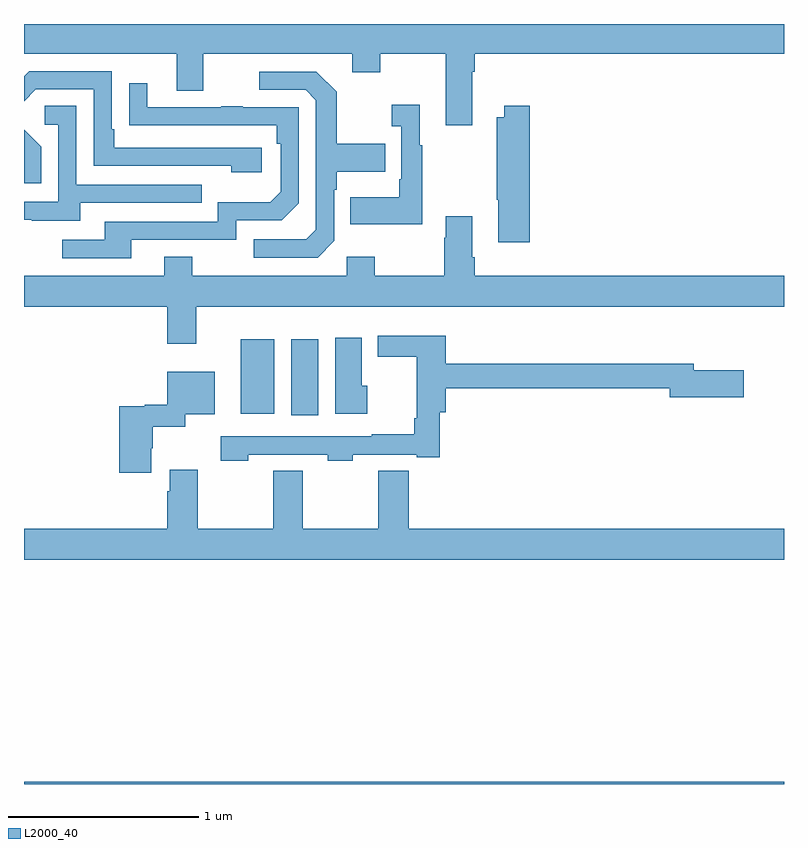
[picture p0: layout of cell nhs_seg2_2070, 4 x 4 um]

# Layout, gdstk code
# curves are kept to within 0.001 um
import gdstk
lib = gdstk.Library(unit=1e-6, precision=1e-09)
def R(c, l, rs):  # rectangles x0, y0, x1, y1
    for r in rs: c.add(gdstk.rectangle(r[:2], r[2:], *l))
def P(c, l, *ps):  # polygons
    for p in ps: c.add(gdstk.Polygon(p, *l))
L2000_40 = (2000, 40)

nhs_seg2_2070 = lib.new_cell('nhs_seg2_2070')
R(nhs_seg2_2070, L2000_40, [(219,635.8,223,635.812), (220.406,637.74,220.549,638.14), (220.142,637.748,220.318,638.14)])
P(nhs_seg2_2070, L2000_40, [(219,639.644),(219.803,639.644),(219.803,639.45),(219.943,639.45),(219.943,639.644),(220.727,639.644),(220.727,639.545),(220.875,639.545),(220.875,639.644),(221.219,639.644),(221.219,639.267),(221.359,639.267),(221.359,639.548),(221.372,639.548),(221.372,639.644),(223,639.644),(223,639.8),(219,639.8)],
  [(220.252,639.15),(219.475,639.15),(219.475,639.247),(219.462,639.247),(219.462,639.552),(219.027,639.552),(219,639.525),(219,639.393),(219.063,639.456),(219.366,639.456),(219.366,639.054),(220.091,639.054),(220.091,639.02),(220.252,639.02)],
  [(220.632,638.658),(220.632,638.927),(220.645,638.927),(220.645,639.023),(220.901,639.023),(220.901,639.171),(220.645,639.171),(220.645,639.443),(220.539,639.549),(220.239,639.549),(220.239,639.453),(220.482,639.453),(220.536,639.399),(220.536,638.718),(220.485,638.667),(220.209,638.667),(220.209,638.571),(220.545,638.571)],
  [(219.565,638.664),(220.116,638.664),(220.116,638.766),(220.356,638.766),(220.446,638.856),(220.446,639.363),(220.151,639.363),(220.151,639.368),(220.039,639.368),(220.039,639.363),(219.649,639.363),(219.649,639.487),(219.553,639.487),(219.553,639.268),(220.33,639.267),(220.33,639.17),(220.35,639.17),(220.35,638.916),(220.297,638.863),(220.02,638.863),(220.02,638.76),(219.425,638.76),(219.425,638.664),(219.201,638.664),(219.201,638.568),(219.565,638.568)],
  [(221.095,639.163),(221.083,639.163),(221.083,639.376),(220.935,639.376),(220.935,639.263),(220.986,639.263),(220.986,638.983),(220.974,638.983),(220.974,638.887),(220.717,638.887),(220.717,638.747),(221.095,638.747)],
  [(219.295,638.859),(219.935,638.859),(219.935,638.955),(219.276,638.955),(219.276,639.371),(219.108,639.371),(219.108,639.27),(219.18,639.27),(219.18,638.865),(219,638.865),(219,638.769),(219.041,638.769),(219.041,638.765),(219.295,638.765)],
  [(221.663,639.37),(221.528,639.37),(221.528,639.31),(221.488,639.31),(221.488,638.875),(221.495,638.875),(221.495,638.652),(221.663,638.652)],
  [(219.09,639.154),(219,639.244),(219,638.961),(219.09,638.961)],
  [(223,638.476),(221.372,638.476),(221.372,638.572),(221.359,638.572),(221.359,638.788),(221.219,638.788),(221.219,638.675),(221.212,638.675),(221.212,638.476),(220.845,638.476),(220.845,638.575),(220.698,638.575),(220.698,638.476),(219.885,638.476),(219.885,638.575),(219.737,638.575),(219.737,638.476),(219,638.476),(219,638.312),(219.755,638.312),(219.755,638.118),(219.907,638.118),(219.907,638.312),(223,638.312)],
  [(220.179,637.533),(220.599,637.533),(220.599,637.501),(220.731,637.501),(220.731,637.533),(221.066,637.533),(221.066,637.521),(221.189,637.521),(221.189,637.757),(221.219,637.757),(221.219,637.882),(222.398,637.882),(222.398,637.835),(222.787,637.835),(222.787,637.977),(222.526,637.977),(222.526,638.011),(221.219,638.011),(221.219,638.158),(220.863,638.158),(220.863,638.049),(221.068,638.049),(221.068,637.726),(221.053,637.726),(221.053,637.642),(220.831,637.642),(220.831,637.629),(220.035,637.629),(220.035,637.501),(220.179,637.501)],
  [(220.807,637.896),(220.777,637.896),(220.777,638.149),(220.637,638.149),(220.637,637.748),(220.807,637.748)],
  [(219.67,637.566),(219.678,637.566),(219.678,637.679),(219.849,637.679),(219.849,637.745),(220.003,637.745),(220.003,637.969),(219.753,637.969),(219.753,637.797),(219.636,637.797),(219.636,637.789),(219.5,637.789),(219.5,637.437),(219.67,637.437)],
  [(223,637.144),(221.024,637.144),(221.024,637.448),(220.864,637.448),(220.864,637.144),(220.466,637.144),(220.466,637.448),(220.312,637.448),(220.312,637.144),(219.915,637.144),(219.915,637.453),(219.767,637.453),(219.767,637.34),(219.755,637.34),(219.755,637.144),(219,637.144),(219,636.98),(223,636.98)])

lib.write_gds('nhs_seg2_2070.gds')
